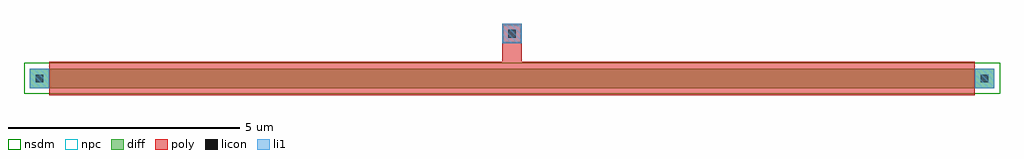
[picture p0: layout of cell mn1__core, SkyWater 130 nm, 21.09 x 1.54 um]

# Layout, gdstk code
import gdstk
lib = gdstk.Library(unit=1e-6, precision=1e-09)
def R(c, l, rs):  # rectangles x0, y0, x1, y1
    for r in rs: c.add(gdstk.rectangle(r[:2], r[2:], *l))
diff = (65, 20)
poly = (66, 20)
licon = (66, 44)
li1 = (67, 20)
nsdm = (93, 44)
npc = (95, 20)

mn1__core = lib.new_cell('mn1__core')
R(mn1__core, diff, [(0,0,20.84,0.42)])
R(mn1__core, poly, [(0.42,-0.15,20.42,0.42), (0.42,0.42,20.42,0.57), (0.42,0.42,20.42,0.57), (10.21,0.57,10.63,1.39)])
R(mn1__core, licon, [(0.125,0.125,0.295,0.295), (20.545,0.125,20.715,0.295), (10.335,1.095,10.505,1.265)])
R(mn1__core, li1, [(0,0,0.42,0.42), (20.42,0,20.84,0.42), (10.21,0.97,10.63,1.39)])
R(mn1__core, nsdm, [(-0.125,-0.125,20.965,0.545)])
R(mn1__core, npc, [(10.235,0.995,10.605,1.365)])

lib.write_gds('mn1__core.gds')
